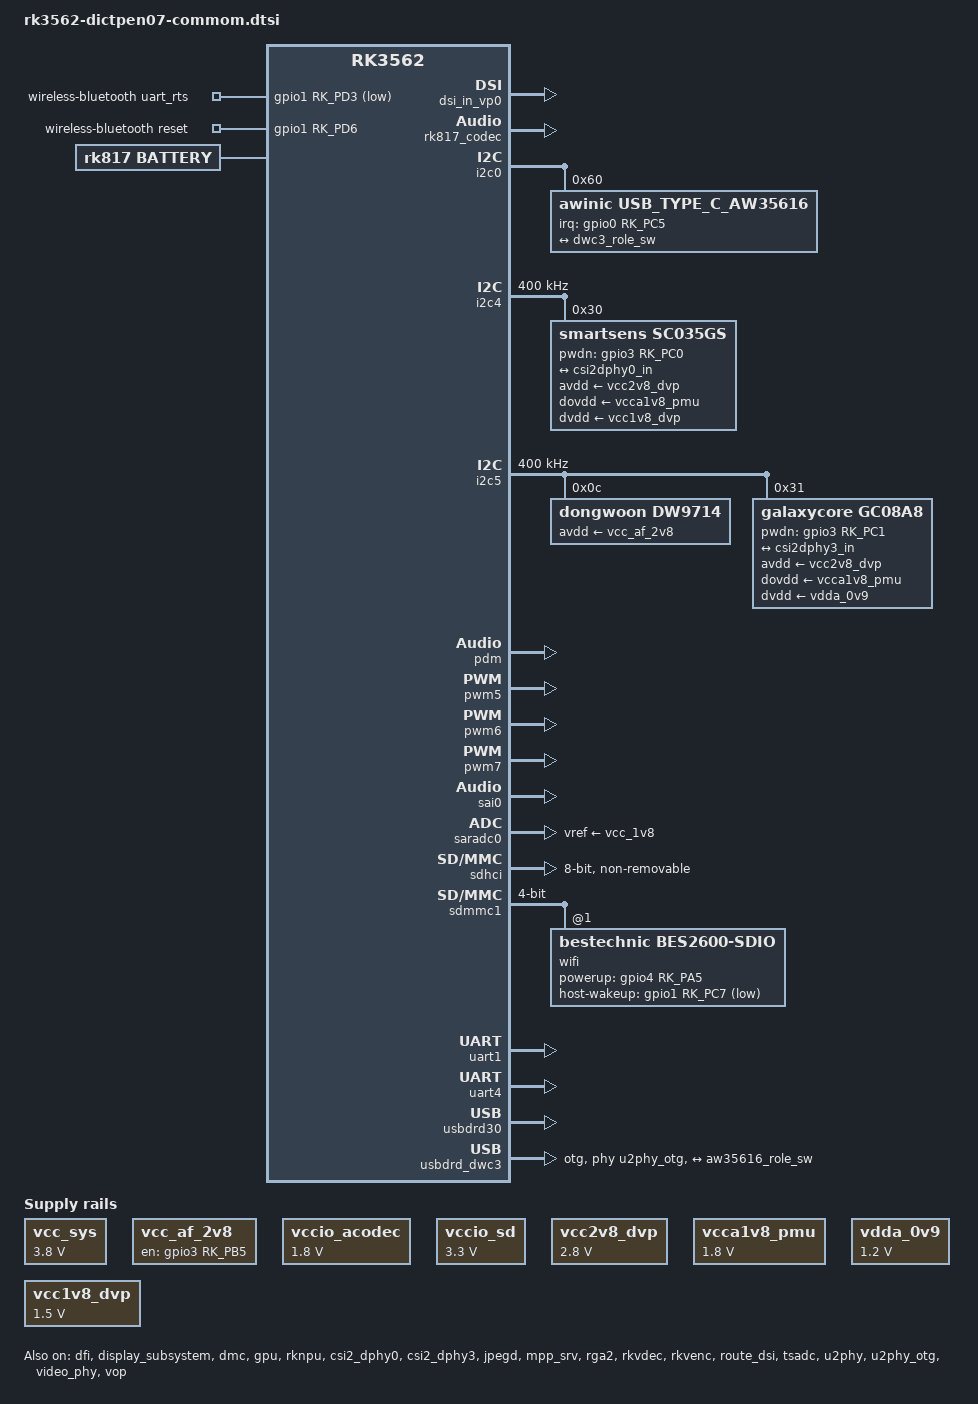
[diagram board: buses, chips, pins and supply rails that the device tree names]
// SPDX-License-Identifier: (GPL-2.0+ OR MIT)
/*
 * Copyright (c) 2022 Rockchip Electronics Co., Ltd.
 *
 * RK3562 DictPen07 Common Board Configuration
 */

#include <dt-bindings/gpio/gpio.h>
#include <dt-bindings/pinctrl/rockchip.h>
#include <dt-bindings/input/rk-input.h>
#include <dt-bindings/sensor-dev.h>
#include <dt-bindings/display/drm_mipi_dsi.h>
#include "dt-bindings/usb/pd.h"
#include "rk3562.dtsi"
#include "rk3562-rk817.dtsi"
	
/ {
	charge-animation {
		compatible = "rockchip,uboot-charge";
		rockchip,uboot-charge-on = <1>;
		rockchip,android-charge-on = <0>;
		rockchip,uboot-low-power-voltage = <3350>;
		rockchip,screen-on-voltage = <3400>;
		status = "okay";
	};

	dummy-codec {
		status = "okay";
		compatible = "rockchip,dummy-codec";
		#sound-dai-cells = <0>;
	};

	pdm-rk817codec-adc {
		status = "okay";
		compatible = "simple-audio-card";
		simple-audio-card,name = "rockchip,pdm-rk817codec-adc";

		simple-audio-card,cpu {
			sound-dai = <&pdm>;
		};

		simple-audio-card,codec {
			sound-dai = <&rk817_codec>;
		};
	};

	rockchip-suspend {
		compatible = "rockchip,pm-rk3562";
		status = "okay";
		rockchip,sleep-debug-en = <1>;
		rockchip,sleep-mode-config = <0x5e2>;
		rockchip,wakeup-config = <0x10>;
	};


	vcc_sys: vcc-sys {
		compatible = "regulator-fixed";
		regulator-name = "vcc_sys";
		regulator-always-on;
		regulator-boot-on;
		regulator-min-microvolt = <3800000>;
		regulator-max-microvolt = <3800000>;
	};

	wireless-bluetooth {
		compatible = "bluetooth-platdata";
		clocks = <&rk817 1>;
		clock-names = "ext_clock";
		uart_rts_gpios = <&gpio1 RK_PD3 GPIO_ACTIVE_LOW>;
		pinctrl-names = "default", "rts_gpio";
		pinctrl-0 = <&uart1m0_rtsn>, <&bt_reset_gpio>;
		pinctrl-1 = <&uart1_gpios>;
		BT,reset_gpio = <&gpio1 RK_PD6 GPIO_ACTIVE_HIGH>;
		status = "okay";
	};

	adb_mtp_notify {
		status = "okay";
		compatible = "youdao,usb_device_notify";
		usb-device-name = "adb_mtp";
		extcon = <&u2phy>;
	};

	vcc_af_2v8: vcc-af-2v8 {
		compatible = "regulator-fixed";
		regulator-name = "vcc_af_2v8";
		gpio = <&gpio3 RK_PB5 GPIO_ACTIVE_HIGH>;
		enable-active-high;

		regulator-state-mem {
			regulator-off-in-suspend;
		};
	};

};

&vccio_acodec {
	regulator-min-microvolt = <1800000>;
	regulator-max-microvolt = <1800000>;
	regulator-name = "vccio1v8_acodec";
};

&vccio_sd {
	regulator-min-microvolt = <3300000>;
	regulator-max-microvolt = <3300000>;
	regulator-name = "vcc3v3_lcm";
};

&vcc_1v8 {
	regulator-name = "vcc1v8_lcm";
};

&vcc2v8_dvp {
	regulator-always-on;
	regulator-boot-on;
	regulator-min-microvolt = <2800000>;
	regulator-max-microvolt = <2800000>;
	regulator-name = "avdd2v8_cam";

	regulator-state-mem {
		regulator-off-in-suspend;
	};
};

&vcca1v8_pmu {
	regulator-always-on;
	regulator-boot-on;
	regulator-min-microvolt = <1800000>;
	regulator-max-microvolt = <1800000>;
	regulator-name = "iovdd1v8_cam";

	regulator-state-mem {
		regulator-off-in-suspend;
	};
};

&vdda_0v9 {
	regulator-always-on;
	regulator-boot-on;
	regulator-min-microvolt = <1200000>;
	regulator-max-microvolt = <1200000>;
	regulator-name = "dvdd_1v2_cam";

	regulator-state-mem {
		regulator-off-in-suspend;
	};
};

&vcc1v8_dvp {
	regulator-always-on;
	regulator-boot-on;
	regulator-min-microvolt = <1500000>;
	regulator-max-microvolt = <1500000>;
	regulator-name = "dvdd1v5_cam";

	regulator-state-mem {
		regulator-off-in-suspend;
	};
};

&cpu0 {
	cpu-supply = <&vdd_cpu>;
};

&bus_soc {
	rockchip,soc-bus-table = <0 0x00a000a8 0x7001>,
				 <1 0x00a000a8 0x7c39>,
				 <2 0x00a000a8 0x7c39>,
				 <3 0x00a000a8 0x7c39>,
				 <4 0x00a000a5 0xb007>,
				 <5 0x00a000a8 0x7034>,
				 <6 0x00a000a8 0x7034>,
				 <7 0x00a000a8 0x7034>,
				 <8 0x00a000a8 0x7001>;
};

&dfi {
	status = "okay";
};

&display_subsystem {
	status = "okay";
};

&dmc {
	center-supply = <&vdd_logic>;
	status = "okay";
};

&dsi_in_vp0 {
	status = "okay";
};

&gpu {
	mali-supply = <&vdd_cpu>;
	status = "okay";
};

&rknpu {
	rknpu-supply = <&vdd_cpu>;
	status = "okay";
};

&rknpu_mmu {
	status = "okay";
};

&rk817 {
	battery {
		compatible = "rk817,battery";

		ntc_table = <
			201659 190234 180239 170343 161276 152744
			144713 137150 130026 123313 116985 110017
			103406 97071 95066 90333 85862 81638
			77645 73871 70237 66927 63727 60702
			58093 55124 52552 50116
			47805 45660 43696 41016 37913 36900
			35459 34683 33539 31780 30276 28966
			27465 25872 24388 23822 23312 22569
			21598 20493 19553 18967 18448 18082
			17590 17043 16310 15736 15179 14642
			14108 13583 13072 12572 12089 11620
			11165 10730 10312 9901 9507 9129
			8762 8410 8069 7747 7439 7144
			6859 6591 6338 6090 5860 5643
			5435 5232 5037 4850 4668 4491
			4329 4160 4002 3855 3715 3580
			3451 3337 3221 3101 2995 2886
			2793 2698 2608 2520 2432 2359
			2272 2220 2153 2091 2040 1997
			1940 1893 1841 1796 1749 1693
			1648 1602 1561 1519 1480 1442
			1407 1365 1331 1294 1258 1220
			1185 1152 1119 1089 1058 1028
			1000 975 945 920 896 871
			850 826 803 790 769 749
			727 707 686 666 652 635
			620 604 590 576 561 547
			535 523 511 499 487 475
			463 451 439 427
		>;

		ntc_degree_from = <1 40>;

		ocv_table = <
			3400 3655 3681 3707 3734
			3755 3777 3796 3817 3842
			3872 3971 4035 4060 4081
			4137 4197 4257 4316 4368
			4368 4422
		>;

		design_capacity = <1700>;
		design_qmax = <1870>;

		bat_res = <177>;

		sleep_enter_current = <30>;
		sleep_exit_current = <30>;
		sleep_filter_current = <20>;

		power_off_thresd = <3400>;
		zero_algorithm_vol = <3000>;

		max_soc_offset = <60>;

		monitor_sec = <5>;
		sample_res = <25>;

		virtual_power = <0>;

		chrg_finish_cur = <50>;
	};

	charger {
		compatible = "rk817,charger";
		min_input_voltage = <4500>;
		max_input_current = <1500>;
		max_chrg_current = <2000>;
		max_chrg_voltage = <4350>;
		chrg_term_mode = <0>;
		chrg_finish_cur = <300>;
		virtual_power = <0>;
		dc_det_adc = <0>;
		extcon = <&u2phy>;
		vsys_can_sd = <1>;
		otg5v_suspend_enable = <0>;
		status = "okay";
	};

	rk817_codec: codec {
		#sound-dai-cells = <0>;
		compatible = "rockchip,rk817-codec";
		clocks = <&mclkout_sai0>;
		clock-names = "mclk";
		assigned-clocks = <&mclkout_sai0>;
		assigned-clock-rates = <12288000>;
		pinctrl-names = "default";
		pinctrl-0 = <&pdmm0_clk1>;
		i2s-module-disable;
		mic-in-differential;
		pdmdata-out-enable;
		status = "okay";
	};
};

&i2c0 {
	usb_type_c_aw35616@60 {
		compatible = "awinic,usb_type_c_aw35616";
		reg = <0x60>;
		interrupt-parent = <&gpio0>;
		interrupts = <RK_PC5 IRQ_TYPE_LEVEL_LOW>;
		pinctrl-0 = <&usbc0_int>;
		pinctrl-names = "default";
		aw35616-tcpc,role_def = <5>;
		aw35616,rp_level = <0>;
		aw35616_acc_support = <0>;
		aw35616_toggle_cycle = <0>;
		status = "okay";

		connector {
			compatible = "usb-c-connector";
			label = "USB-C";
			data-role = "dual";

			ports {
				#address-cells = <1>;
				#size-cells = <0>;

				port@0 {
					reg = <0>;
					aw35616_role_sw: endpoint@0 {
						remote-endpoint = <&dwc3_role_sw>;
					};
				};
			};
		};
	};
};

&csi2_dphy0 {
	status = "okay";

	ports {
		#address-cells = <1>;
		#size-cells = <0>;

		port@0 {
			reg = <0>;
			#address-cells = <1>;
			#size-cells = <0>;

			csi2dphy0_in: endpoint@1 {
				reg = <1>;
				remote-endpoint = <&sc035gs_out>;
				data-lanes = <1>;
			};
		};
	};
};

&csi2_dphy3 {
	status = "okay";

	ports {
		#address-cells = <1>;
		#size-cells = <0>;

		port@0 {
			reg = <0>;
			#address-cells = <1>;
			#size-cells = <0>;

			csi2dphy3_in: endpoint@1 {
				reg = <1>;
				remote-endpoint = <&gc08a8_out>;
				data-lanes = <1 2 3 4>;
			};
		};
	};
};

&i2c4 {
	status = "okay";
	clock-frequency = <400000>;

	sc035gs@30 {
		compatible = "smartsens,sc035gs";
		status = "okay";
		reg = <0x30>;
		clocks = <&cru CLK_CAM0_OUT2IO>;
		clock-names = "xvclk";
		pinctrl-names = "default";
		pinctrl-0 = <&camm0_clk0_out>;
		pwdn-gpios = <&gpio3 RK_PC0 GPIO_ACTIVE_HIGH>;
		avdd-supply = <&vcc2v8_dvp>;
		dovdd-supply = <&vcca1v8_pmu>;
		dvdd-supply = <&vcc1v8_dvp>;
		rockchip,camera-module-index = <0>;
		rockchip,camera-module-facing = "front";
		rockchip,camera-module-name = "default";
		rockchip,camera-module-lens-name = "default";

		port {
			sc035gs_out: endpoint {
				remote-endpoint = <&csi2dphy0_in>;
				data-lanes = <1>;
			};
		};
	};
};

&i2c5 {
	status = "okay";
	clock-frequency = <400000>;

	dw9714: dw9714@c {
		compatible = "dongwoon,dw9714";
		status = "okay";
		reg = <0x0c>;
		avdd-supply = <&vcc_af_2v8>;
		rockchip,vcm-max-current = <0x3ff>;
		rockchip,vcm-start-current = <0x100>;
		rockchip,vcm-rated-current = <0x32a>;
		rockchip,vcm-step-mode = <0x06>;
		rockchip,camera-module-index = <1>;
		rockchip,camera-module-facing = "back";
	};

	gc08a8: gc08a8@31 {
		status = "okay";
		compatible = "galaxycore,gc08a8";
		reg = <0x31>;
		clocks = <&cru CLK_CAM1_OUT2IO>;
		clock-names = "xvclk";
		pinctrl-names = "default";
		pinctrl-0 = <&camm0_clk1_out>;
		pwdn-gpios = <&gpio3 RK_PC1 GPIO_ACTIVE_HIGH>;
		avdd-supply = <&vcc2v8_dvp>;
		dovdd-supply = <&vcca1v8_pmu>;
		dvdd-supply = <&vdda_0v9>;
		rockchip,camera-module-index = <1>;
		rockchip,camera-module-facing = "back";
		rockchip,camera-module-name = "default";
		rockchip,camera-module-lens-name = "default_y03";
		lens-focus = <&dw9714>;

		port {
			gc08a8_out: endpoint {
				remote-endpoint = <&csi2dphy3_in>;
				data-lanes = <1 2 3 4>;
			};
		};
	};
};

&jpegd {
	status = "okay";
};

&jpegd_mmu {
	status = "okay";
};

&mpp_srv {
	status = "okay";
};

&pdm {
	status = "okay";
	pinctrl-0 = <&pdmm0_clk0
		     &pdmm0_sdi1>;
	rockchip,path-map = <1 0 2 3>;
};

&pwm5 {
	status = "okay";
};

&pwm6 {
	status = "okay";
};

&pwm7 {
	status = "okay";
};

&rga2 {
	status = "okay";
};

&rga2_mmu {
	status = "okay";
};

&rkvdec {
	status = "okay";
};

&rkvdec_mmu {
	status = "okay";
};

&rkvenc {
	status = "okay";
	venc-supply = <&vdd_logic>;
};

&rkvenc_mmu {
	status = "okay";
};

&route_dsi {
	status = "okay";
};

&sai0 {
	status = "okay";
	pinctrl-names = "default";
	pinctrl-0 = <&i2s0m0_lrck
		     &i2s0m0_sclk
		     &i2s0m0_sdi0
		     &i2s0m0_sdo0>;
};

&saradc0 {
	status = "okay";
	vref-supply = <&vcc_1v8>;
};

&sdhci {
	bus-width = <8>;
	no-sdio;
	no-sd;
	non-removable;
	max-frequency = <200000000>;
	mmc-hs400-1_8v;
	mmc-hs400-enhanced-strobe;
	status = "okay";
};

&sdmmc0 {
	status = "disabled";
};

&sdmmc1 {
	max-frequency = <50000000>;
	no-sd;
	no-mmc;
	bus-width = <4>;
	disable-wp;
	cap-sd-highspeed;
	cap-sdio-irq;
	keep-power-in-suspend;
	pinctrl-names = "default";
	pinctrl-0 = <&sdmmc1_bus4 &sdmmc1_cmd &sdmmc1_clk>;
	sd-uhs-sdr104;
	status = "okay";

	wifi@1 {
		compatible = "bestechnic,bes2600-sdio";
		reg = <1>;
		powerup-gpios = <&gpio4 RK_PA5 GPIO_ACTIVE_HIGH>;
		host-wakeup-gpios = <&gpio1 RK_PC7 GPIO_ACTIVE_LOW>;
		// interrupts-extended = <&gpio2 RK_PA1 IRQ_TYPE_LEVEL_HIGH>;
	};
};

&tsadc {
	status = "okay";
};

&u2phy {
	status = "okay";
};

&u2phy_otg {
	status = "okay";
	vbus-supply = <&otg_switch>;
};

&uart1 {
	status = "okay";
	pinctrl-names = "default";
	pinctrl-0 = <&uart1m0_xfer &uart1m0_ctsn>;
};

&uart4 {
	status = "okay";
	pinctrl-names = "default";
	pinctrl-0 = <&uart4m0_xfer>;
};

&usbdrd30 {
	status = "okay";
};

&usbdrd_dwc3 {
	status = "okay";

	dr_mode = "otg";
	extcon = <&u2phy>;
	maximum-speed = "high-speed";
	phys = <&u2phy_otg>;
	phy-names = "usb2-phy";
	snps,dis_u2_susphy_quirk;
	snps,usb2-lpm-disable;
	usb-role-switch;

	port {
		#address-cells = <1>;
		#size-cells = <0>;

		dwc3_role_sw: endpoint@0 {
			reg = <0>;
			remote-endpoint = <&aw35616_role_sw>;
		};
	};
};

&video_phy {
	status = "okay";
};

&vop {
	status = "okay";
};

&vop_mmu {
	status = "okay";
};

&pinctrl {
	wireless-bluetooth {
		uart1_gpios: uart1-gpios {
			rockchip,pins = <1 RK_PD3 RK_FUNC_GPIO &pcfg_pull_none>;
		};

		bt_reset_gpio: bt-reset-gpio {
			rockchip,pins = <1 RK_PD6 RK_FUNC_GPIO &pcfg_pull_none>;
		};
	};

	usb {
		usbc0_int: usbc0-int {
			rockchip,pins = <0 RK_PC5 RK_FUNC_GPIO &pcfg_pull_up>;
		};
	};

	cam {
		camm0_clk0_out: camm0-clk0-out {
			rockchip,pins = <3 RK_PB2 RK_FUNC_GPIO &pcfg_pull_none>;
		};

		camm0_clk1_out: camm0-clk1-out {
			rockchip,pins = <3 RK_PB3 RK_FUNC_GPIO &pcfg_pull_none>;
		};

	};
};
